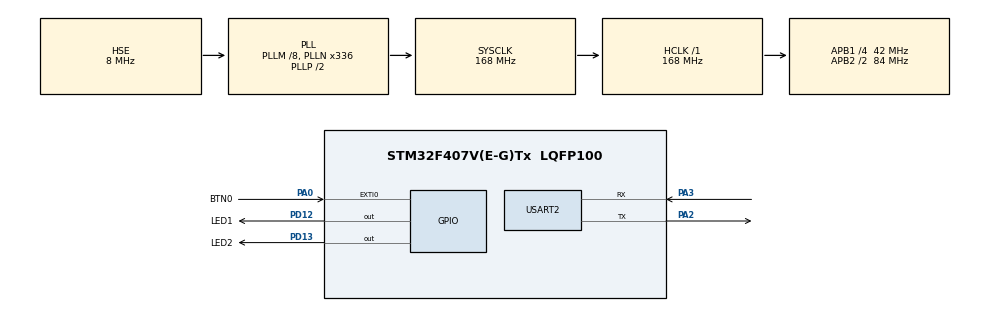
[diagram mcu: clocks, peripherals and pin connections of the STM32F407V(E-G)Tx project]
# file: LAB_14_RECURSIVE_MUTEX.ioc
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FREERTOS.RecursiveMutexes01=myRecursiveMutex01,Dynamic,NULL,Available
FREERTOS.Tasks01=defaultTask,24,128,StartDefaultTask,Default,NULL,Dynamic,NULL,NULL;BTN_Task,24,128,StartBTN_Task,Default,NULL,Dynamic,NULL,NULL;LEDTask,24,128,StartLEDTask,Default,NULL,Dynamic,NULL,NULL
FREERTOS.configUSE_NEWLIB_REENTRANT=1
Mcu.Family=STM32F4
Mcu.Name=STM32F407V(E-G)Tx
Mcu.Package=LQFP100
NVIC.EXTI0_IRQn=true\:5\:0\:false\:false\:true\:true\:true\:true\:true
NVIC.PriorityGroup=NVIC_PRIORITYGROUP_4
NVIC.TIM1_UP_TIM10_IRQn=true\:15\:0\:false\:false\:true\:false\:false\:true\:true
NVIC.TimeBase=TIM1_UP_TIM10_IRQn
NVIC.TimeBaseIP=TIM1
PA0-WKUP.GPIO_Label=BTN0
PA0-WKUP.GPIO_PuPd=GPIO_PULLDOWN
PA0-WKUP.Signal=GPXTI0
PA13.Mode=Serial_Wire
PA13.Signal=SYS_JTMS-SWDIO
PA14.Mode=Serial_Wire
PA14.Signal=SYS_JTCK-SWCLK
PA2.Mode=Asynchronous
PA2.Signal=USART2_TX
PA3.Mode=Asynchronous
PA3.Signal=USART2_RX
PD12.GPIO_Label=LED1
PD12.Signal=GPIO_Output
PD13.GPIO_Label=LED2
PD13.Signal=GPIO_Output
PH0-OSC_IN.Mode=HSE-External-Oscillator
PH0-OSC_IN.Signal=RCC_OSC_IN
PH1-OSC_OUT.Mode=HSE-External-Oscillator
PH1-OSC_OUT.Signal=RCC_OSC_OUT
ProjectManager.HeapSize=0x200
ProjectManager.StackSize=0x400
ProjectManager.TargetToolchain=STM32CubeIDE
RCC.48MHZClocksFreq_Value=48000000
RCC.AHBFreq_Value=168000000
RCC.APB1CLKDivider=RCC_HCLK_DIV4
RCC.APB1Freq_Value=42000000
RCC.APB1TimFreq_Value=84000000
RCC.APB2CLKDivider=RCC_HCLK_DIV2
RCC.APB2Freq_Value=84000000
RCC.APB2TimFreq_Value=168000000
RCC.CortexFreq_Value=168000000
RCC.HCLKFreq_Value=168000000
RCC.HSE_VALUE=8000000
RCC.HSI_VALUE=16000000
RCC.LSE_VALUE=32768
RCC.PLLM=8
RCC.PLLN=336
RCC.PLLQ=7
RCC.PLLSourceVirtual=RCC_PLLSOURCE_HSE
RCC.SYSCLKFreq_VALUE=168000000
RCC.SYSCLKSource=RCC_SYSCLKSOURCE_PLLCLK
RCC.VCOOutputFreq_Value=336000000
USART2.VirtualMode=VM_ASYNC
VP_FREERTOS_VS_CMSIS_V2.Mode=CMSIS_V2
VP_SYS_VS_tim1.Mode=TIM1
board=STM32F407G-DISC1

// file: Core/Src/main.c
/* USER CODE BEGIN Header */
/**
  ******************************************************************************
  * @file           : main.c
  * @brief          : Main program body
  ******************************************************************************
  * @attention
  *
  * Copyright (c) 2024 STMicroelectronics.
  * All rights reserved.
  *
  * This software is licensed under terms that can be found in the LICENSE file
  * in the root directory of this software component.
  * If no LICENSE file comes with this software, it is provided AS-IS.
  *
  ******************************************************************************
  */
/* USER CODE END Header */
#include "main.h"
#include "cmsis_os.h"

/* USER CODE BEGIN Includes */
#include <stdio.h>
#include <string.h>
#include <stdarg.h>
/* USER CODE END Includes */

/* USER CODE BEGIN PTD */
typedef enum
{
    LED_ACTION_TOGGLE_GREEN = 0,
    LED_ACTION_BLINK_ORANGE_SLOW,
    LED_ACTION_BLINK_ORANGE_FAST,
    LED_ACTION_COMPLEX_PATTERN
} LED_Action_t;
typedef struct
{
    LED_Action_t action;
    uint8_t priority;
} LED_Command_t;
/* USER CODE END PTD */

/* USER CODE BEGIN PD */
#define DEBOUNCE_DELAY_MS 	200
#define MAX_RECURSIVE_DEPTH 3
/* USER CODE END PD */

UART_HandleTypeDef huart2;

/* Definitions for defaultTask */
osThreadId_t defaultTaskHandle;
const osThreadAttr_t defaultTask_attributes = {
  .name = "defaultTask",
  .stack_size = 128 * 4,
  .priority = (osPriority_t) osPriorityNormal,
};
/* Definitions for BTN_Task */
osThreadId_t BTN_TaskHandle;
const osThreadAttr_t BTN_Task_attributes = {
  .name = "BTN_Task",
  .stack_size = 128 * 4,
  .priority = (osPriority_t) osPriorityNormal,
};
/* Definitions for LEDTask */
osThreadId_t LEDTaskHandle;
const osThreadAttr_t LEDTask_attributes = {
  .name = "LEDTask",
  .stack_size = 128 * 4,
  .priority = (osPriority_t) osPriorityNormal,
};
/* Definitions for myRecursiveMutex01 */
osMutexId_t myRecursiveMutex01Handle;
const osMutexAttr_t myRecursiveMutex01_attributes = {
  .name = "myRecursiveMutex01",
  .attr_bits = osMutexRecursive,
};
/* USER CODE BEGIN PV */
osMessageQueueId_t ledQueueHandle;
uint32_t 	lastPressTime 		= 0;
uint8_t 	recursiveCallDepth 	= 0;
char 		buffer[100];
/* USER CODE END PV */

void SystemClock_Config(void);
static void MX_GPIO_Init(void);
static void MX_USART2_UART_Init(void);
void StartDefaultTask(void *argument);
void StartBTN_Task(void *argument);
void StartLEDTask(void *argument);

/* USER CODE BEGIN PFP */
void 	LED_Toggle(GPIO_TypeDef* GPIOx, uint16_t GPIO_Pin);
void 	LED_ON(GPIO_TypeDef* GPIOx, uint16_t GPIO_Pin);
void 	LED_OFF(GPIO_TypeDef* GPIOx, uint16_t GPIO_Pin);
void 	RecursiveLEDFunction(uint8_t depth);
void 	ComplexLEDPattern(void);
void 	PrintData(const char* format, ...);
uint8_t IsButtonPressed(void);
/* USER CODE END PFP */

/* USER CODE BEGIN 0 */
void PrintData(const char* format, ...)
{
    va_list args;
    va_start(args, format);
    vsnprintf(buffer, sizeof(buffer), format, args);
    va_end(args);
    HAL_UART_Transmit(&huart2, (uint8_t*)buffer, strlen(buffer), HAL_MAX_DELAY);
}
void LED_Toggle(GPIO_TypeDef* GPIOx, uint16_t GPIO_Pin)
{
    HAL_GPIO_TogglePin(GPIOx, GPIO_Pin);
}

void LED_ON(GPIO_TypeDef* GPIOx, uint16_t GPIO_Pin)
{
    HAL_GPIO_WritePin(GPIOx, GPIO_Pin, GPIO_PIN_SET);
}

void LED_OFF(GPIO_TypeDef* GPIOx, uint16_t GPIO_Pin)
{
    HAL_GPIO_WritePin(GPIOx, GPIO_Pin, GPIO_PIN_RESET);
}

uint8_t IsButtonPressed(void)
{
    if (HAL_GPIO_ReadPin(BTN0_GPIO_Port, BTN0_Pin) == GPIO_PIN_SET)
    {
        uint32_t currentTime = osKernelGetTickCount();
        if ((currentTime - lastPressTime) > DEBOUNCE_DELAY_MS)
        {
            lastPressTime = currentTime;
            return 1;
        }
    }
    return 0;
}

void RecursiveLEDFunction(uint8_t depth)
{
    if (depth >= MAX_RECURSIVE_DEPTH)
    {
        return;
    }
    if (osMutexAcquire(myRecursiveMutex01Handle, osWaitForever) == osOK)
    {
        recursiveCallDepth = depth + 1;
        PrintData("Recursive Call Depth : %d Mutex Acquired\r\n", recursiveCallDepth);
        for (int i = 0; i < (depth + 1) * 2; i++)
        {
            LED_Toggle(LED1_GPIO_Port, LED1_Pin);
            osDelay(100 * (depth + 1));
        }
        RecursiveLEDFunction(depth + 1);
        LED_Toggle(LED2_GPIO_Port, LED2_Pin);
        osDelay(200);
        PrintData("Recursive Call Depth : %d Releasing Mutex\r\n", recursiveCallDepth);
        osMutexRelease(myRecursiveMutex01Handle);
        recursiveCallDepth = depth;
    }
}

void ComplexLEDPattern(void)
{
    if (osMutexAcquire(myRecursiveMutex01Handle, osWaitForever) == osOK)
    {
    	PrintData("Complex Pattern Started : Mutex Acquired\r\n");
        // Phase 1: Fast blinking
        for (int i = 0; i < 5; i++)
        {
            LED_Toggle(LED1_GPIO_Port, LED1_Pin);
            LED_Toggle(LED2_GPIO_Port, LED2_Pin);
            osDelay(100);
        }
        RecursiveLEDFunction(0);
        // Phase 2: Slow blinking
        for (int i = 0; i < 3; i++)
        {
            LED_ON(LED1_GPIO_Port, LED1_Pin);
            LED_OFF(LED2_GPIO_Port, LED2_Pin);
            osDelay(300);
            LED_OFF(LED1_GPIO_Port, LED1_Pin);
            LED_ON(LED2_GPIO_Port, LED2_Pin);
            osDelay(300);
        }
        PrintData("Complex Pattern Completed : Releasing Mutex\r\n");
        osMutexRelease(myRecursiveMutex01Handle);
    }
}
/* USER CODE END 0 */

int main(void)
{

  /* MCU Configuration--------------------------------------------------------*/

  /* Reset of all peripherals, Initializes the Flash interface and the Systick. */
  HAL_Init();

  /* Configure the system clock */
  SystemClock_Config();

  /* Initialize all configured peripherals */
  MX_GPIO_Init();
  MX_USART2_UART_Init();
  /* USER CODE BEGIN 2 */
  ledQueueHandle = osMessageQueueNew(10, sizeof(LED_Command_t), NULL);
  LED_OFF(LED1_GPIO_Port, LED1_Pin);
  LED_OFF(LED2_GPIO_Port, LED2_Pin);
  PrintData("Recursive Mutex Demo Started\r\n");
  PrintData("Press PA0 Button To Test Recursive Mutex Operations\r\n");
  /* USER CODE END 2 */

  /* Init scheduler */
  osKernelInitialize();

  /* Create the recursive mutex(es) */
  /* creation of myRecursiveMutex01 */
  myRecursiveMutex01Handle = osMutexNew(&myRecursiveMutex01_attributes);

  /* Create the thread(s) */
  /* creation of defaultTask */
  defaultTaskHandle = osThreadNew(StartDefaultTask, NULL, &defaultTask_attributes);

  /* creation of BTN_Task */
  BTN_TaskHandle = osThreadNew(StartBTN_Task, NULL, &BTN_Task_attributes);

  /* creation of LEDTask */
  LEDTaskHandle = osThreadNew(StartLEDTask, NULL, &LEDTask_attributes);

  /* Start scheduler */
  osKernelStart();

  /* We should never get here as control is now taken by the scheduler */

  /* Infinite loop */
  while (1)
  {

  }
}

void SystemClock_Config(void)
{
  RCC_OscInitTypeDef RCC_OscInitStruct = {0};
  RCC_ClkInitTypeDef RCC_ClkInitStruct = {0};

  /** Configure the main internal regulator output voltage
  */
  __HAL_RCC_PWR_CLK_ENABLE();
  __HAL_PWR_VOLTAGESCALING_CONFIG(PWR_REGULATOR_VOLTAGE_SCALE1);

  /** Initializes the RCC Oscillators according to the specified parameters
  * in the RCC_OscInitTypeDef structure.
  */
  RCC_OscInitStruct.OscillatorType = RCC_OSCILLATORTYPE_HSE;
  RCC_OscInitStruct.HSEState = RCC_HSE_ON;
  RCC_OscInitStruct.PLL.PLLState = RCC_PLL_ON;
  RCC_OscInitStruct.PLL.PLLSource = RCC_PLLSOURCE_HSE;
  RCC_OscInitStruct.PLL.PLLM = 8;
  RCC_OscInitStruct.PLL.PLLN = 336;
  RCC_OscInitStruct.PLL.PLLP = RCC_PLLP_DIV2;
  RCC_OscInitStruct.PLL.PLLQ = 7;
  if (HAL_RCC_OscConfig(&RCC_OscInitStruct) != HAL_OK)
  {
    Error_Handler();
  }

  /** Initializes the CPU, AHB and APB buses clocks
  */
  RCC_ClkInitStruct.ClockType = RCC_CLOCKTYPE_HCLK|RCC_CLOCKTYPE_SYSCLK
                              |RCC_CLOCKTYPE_PCLK1|RCC_CLOCKTYPE_PCLK2;
  RCC_ClkInitStruct.SYSCLKSource = RCC_SYSCLKSOURCE_PLLCLK;
  RCC_ClkInitStruct.AHBCLKDivider = RCC_SYSCLK_DIV1;
  RCC_ClkInitStruct.APB1CLKDivider = RCC_HCLK_DIV4;
  RCC_ClkInitStruct.APB2CLKDivider = RCC_HCLK_DIV2;

  if (HAL_RCC_ClockConfig(&RCC_ClkInitStruct, FLASH_LATENCY_5) != HAL_OK)
  {
    Error_Handler();
  }
}

static void MX_USART2_UART_Init(void)
{

  huart2.Instance = USART2;
  huart2.Init.BaudRate = 115200;
  huart2.Init.WordLength = UART_WORDLENGTH_8B;
  huart2.Init.StopBits = UART_STOPBITS_1;
  huart2.Init.Parity = UART_PARITY_NONE;
  huart2.Init.Mode = UART_MODE_TX_RX;
  huart2.Init.HwFlowCtl = UART_HWCONTROL_NONE;
  huart2.Init.OverSampling = UART_OVERSAMPLING_16;
  if (HAL_UART_Init(&huart2) != HAL_OK)
  {
    Error_Handler();
  }

}

static void MX_GPIO_Init(void)
{
  GPIO_InitTypeDef GPIO_InitStruct = {0};

  /* GPIO Ports Clock Enable */
  __HAL_RCC_GPIOH_CLK_ENABLE();
  __HAL_RCC_GPIOA_CLK_ENABLE();
  __HAL_RCC_GPIOD_CLK_ENABLE();

  /*Configure GPIO pin Output Level */
  HAL_GPIO_WritePin(GPIOD, LED1_Pin|LED2_Pin, GPIO_PIN_RESET);

  /*Configure GPIO pin : BTN0_Pin */
  GPIO_InitStruct.Pin = BTN0_Pin;
  GPIO_InitStruct.Mode = GPIO_MODE_IT_RISING;
  GPIO_InitStruct.Pull = GPIO_PULLDOWN;
  HAL_GPIO_Init(BTN0_GPIO_Port, &GPIO_InitStruct);

  /*Configure GPIO pins : LED1_Pin LED2_Pin */
  GPIO_InitStruct.Pin = LED1_Pin|LED2_Pin;
  GPIO_InitStruct.Mode = GPIO_MODE_OUTPUT_PP;
  GPIO_InitStruct.Pull = GPIO_NOPULL;
  GPIO_InitStruct.Speed = GPIO_SPEED_FREQ_LOW;
  HAL_GPIO_Init(GPIOD, &GPIO_InitStruct);

  /* EXTI interrupt init*/
  HAL_NVIC_SetPriority(EXTI0_IRQn, 5, 0);
  HAL_NVIC_EnableIRQ(EXTI0_IRQn);

}

void StartDefaultTask(void *argument)
{
  /* USER CODE BEGIN 5 */
  /* Infinite loop */
  for(;;)
  {
    // Monitor system status
	PrintData("System Running ... Recursive Depth : %d\r\n", recursiveCallDepth);
    osDelay(5000);
  }
  /* USER CODE END 5 */
}

void StartBTN_Task(void *argument)
{
  /* USER CODE BEGIN StartBTN_Task */
  LED_Command_t ledCmd;
  uint8_t pressCount = 0;
  /* Infinite loop */
  for(;;)
  {
    if (IsButtonPressed())
    {
        pressCount++;
        PrintData("Button Pressed Count : %d\r\n", pressCount);
        switch (pressCount % 4)
        {
            case 0:
                ledCmd.action 	= LED_ACTION_TOGGLE_GREEN;
                ledCmd.priority = 1;
                break;
            case 1:
                ledCmd.action 	= LED_ACTION_BLINK_ORANGE_SLOW;
                ledCmd.priority = 2;
                break;
            case 2:
                ledCmd.action 	= LED_ACTION_BLINK_ORANGE_FAST;
                ledCmd.priority = 3;
                break;
            case 3:
                ledCmd.action 	= LED_ACTION_COMPLEX_PATTERN;
                ledCmd.priority = 4;
                break;
        }
        osMessageQueuePut(ledQueueHandle, &ledCmd, 0, 0);
        // Wait for button release
        while (HAL_GPIO_ReadPin(BTN0_GPIO_Port, BTN0_Pin) == GPIO_PIN_SET)
        {
            osDelay(10);
        }
    }
    osDelay(10);
  }
  /* USER CODE END StartBTN_Task */
}

void StartLEDTask(void *argument)
{
  /* USER CODE BEGIN StartLEDTask */
  LED_Command_t ledCmd;

  /* Infinite loop */
  for(;;)
  {
    if (osMessageQueueGet(ledQueueHandle, &ledCmd, NULL, osWaitForever) == osOK)
    {
    	PrintData("Processing LED command: %d with priority: %d\r\n", ledCmd.action, ledCmd.priority);
        switch (ledCmd.action)
        {
            case LED_ACTION_TOGGLE_GREEN:
                if (osMutexAcquire(myRecursiveMutex01Handle, osWaitForever) == osOK)
                {
                    LED_Toggle(LED2_GPIO_Port, LED2_Pin);
                    PrintData("Green LED toggled\r\n");
                    osMutexRelease(myRecursiveMutex01Handle);
                }
                break;
            case LED_ACTION_BLINK_ORANGE_SLOW:

                for (int i = 0; i < 3; i++)
                {
                    if (osMutexAcquire(myRecursiveMutex01Handle, osWaitForever) == osOK)
                    {
                        LED_Toggle(LED1_GPIO_Port, LED1_Pin);
                        osDelay(500);
                        PrintData("Multiple Acquisitions In A Loop\r\n");
                        osMutexRelease(myRecursiveMutex01Handle);
                    }
                    osDelay(200);
                }
                break;
            case LED_ACTION_BLINK_ORANGE_FAST:
                if (osMutexAcquire(myRecursiveMutex01Handle, osWaitForever) == osOK)
                {
                	PrintData("First Acquisition : Fast Blinking\r\n");
                    for (int i = 0; i < 10; i++)
                    {
                        LED_Toggle(LED1_GPIO_Port, LED1_Pin);
                        osDelay(100);
                    }
                    if (osMutexAcquire(myRecursiveMutex01Handle, osWaitForever) == osOK)
                    {
                    	PrintData("Second Acquisition : Nested\r\n");
                        LED_ON(LED2_GPIO_Port, LED2_Pin);
                        osDelay(200);
                        // Must release same number of times
                        osMutexRelease(myRecursiveMutex01Handle);
                    }
                    osMutexRelease(myRecursiveMutex01Handle);
                }
                break;
            case LED_ACTION_COMPLEX_PATTERN:
                ComplexLEDPattern();
                break;
        }
        PrintData("LED Command Completed\r\n");
    }
  }
  /* USER CODE END StartLEDTask */
}

void HAL_TIM_PeriodElapsedCallback(TIM_HandleTypeDef *htim)
{
  if (htim->Instance == TIM1) {
    HAL_IncTick();
  }
}

void Error_Handler(void)
{
  __disable_irq();
  while (1)
  {
  }
}
